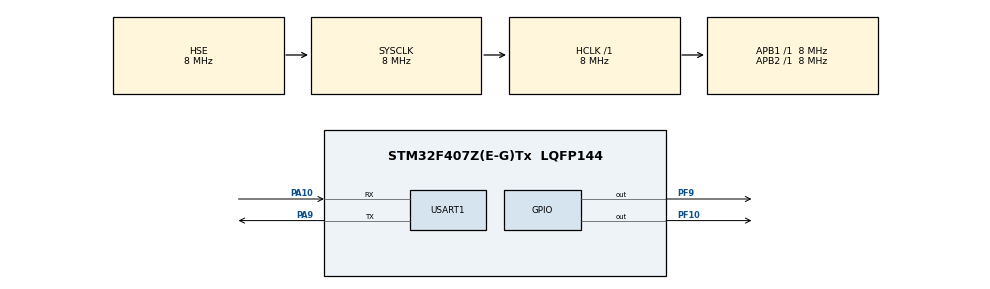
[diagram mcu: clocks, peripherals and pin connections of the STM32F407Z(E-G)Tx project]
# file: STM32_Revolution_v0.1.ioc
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Mcu.Family=STM32F4
Mcu.Name=STM32F407Z(E-G)Tx
Mcu.Package=LQFP144
NVIC.PriorityGroup=NVIC_PRIORITYGROUP_4
NVIC.USART1_IRQn=true\:0\:0\:false\:false\:true\:true\:true
PA10.Mode=Asynchronous
PA10.Signal=USART1_RX
PA9.Mode=Asynchronous
PA9.Signal=USART1_TX
PF10.Signal=GPIO_Output
PF9.Signal=GPIO_Output
PH0-OSC_IN.Mode=HSE-External-Oscillator
PH0-OSC_IN.Signal=RCC_OSC_IN
PH1-OSC_OUT.Mode=HSE-External-Oscillator
PH1-OSC_OUT.Signal=RCC_OSC_OUT
ProjectManager.HeapSize=0x200
ProjectManager.StackSize=0x400
ProjectManager.TargetToolchain=MDK-ARM V5.27
RCC.48MHZClocksFreq_Value=24000000
RCC.AHBFreq_Value=8000000
RCC.APB1Freq_Value=8000000
RCC.APB1TimCLKDivider=1
RCC.APB1TimFreq_Value=8000000
RCC.APB2Freq_Value=8000000
RCC.APB2TimCLKDivider=1
RCC.APB2TimFreq_Value=8000000
RCC.CortexFreq_Value=8000000
RCC.HCLKFreq_Value=8000000
RCC.HSE_VALUE=8000000
RCC.HSI_VALUE=16000000
RCC.LSE_VALUE=32768
RCC.PLLSourceVirtual=RCC_PLLSOURCE_HSE
RCC.SYSCLKFreq_VALUE=8000000
RCC.SYSCLKSource=RCC_SYSCLKSOURCE_HSE
RCC.VCOOutputFreq_Value=96000000
USART1.VirtualMode=VM_ASYNC
board=custom

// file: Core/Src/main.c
/* USER CODE BEGIN Header */
/**
  ******************************************************************************
  * @file           : main.c
  * @brief          : Main program body
  ******************************************************************************
  * @attention
  *
  * <h2><center>&copy; Copyright (c) 2021 STMicroelectronics.
  * All rights reserved.</center></h2>
  *
  * This software component is licensed by ST under BSD 3-Clause license,
  * the "License"; You may not use this file except in compliance with the
  * License. You may obtain a copy of the License at:
  *                        opensource.org/licenses/BSD-3-Clause
  *
  ******************************************************************************
  */
/* USER CODE END Header */
#include "main.h"

/* USER CODE BEGIN Includes */
#include "FreeRTOS.h"
#include "task.h"
#include "stdio.h"
/* USER CODE END Includes */

UART_HandleTypeDef huart1;

void SystemClock_Config(void);
static void MX_GPIO_Init(void);
static void MX_USART1_UART_Init(void);

/* USER CODE BEGIN 0 */

#define START_TASK_PRIO		1
#define START_STK_SIZE 		128
TaskHandle_t StartTask_Handler;
void start_task(void *pvParameters);

#define LED0_TASK_PRIO		2
#define LED0_STK_SIZE 		50
TaskHandle_t LED0Task_Handler;
void led0_task(void *pvParameters);

#define LED1_TASK_PRIO		3
#define LED1_STK_SIZE 		50
TaskHandle_t LED1Task_Handler;
void led1_task(void *pvParameters);

#define FLOAT_TASK_PRIO		4
#define FLOAT_STK_SIZE 		128
TaskHandle_t FLOATTask_Handler;
void float_task(void *pvParameters);

void start_task(void *pvParameters)
{
  printf("STM32 Revolution V0.1");

	taskENTER_CRITICAL();           //?????
    //??LED0??
    xTaskCreate((TaskFunction_t )led0_task,
                (const char*    )"led0_task",
                (uint16_t       )LED0_STK_SIZE,
                (void*          )NULL,
                (UBaseType_t    )LED0_TASK_PRIO,
                (TaskHandle_t*  )&LED0Task_Handler);
    //??LED1??
    xTaskCreate((TaskFunction_t )led1_task,
                (const char*    )"led1_task",
                (uint16_t       )LED1_STK_SIZE,
                (void*          )NULL,
                (UBaseType_t    )LED1_TASK_PRIO,
                (TaskHandle_t*  )&LED1Task_Handler);

    xTaskCreate((TaskFunction_t )float_task,
                (const char*    )"float_task",
                (uint16_t       )FLOAT_STK_SIZE,
                (void*          )NULL,
                (UBaseType_t    )FLOAT_TASK_PRIO,
                (TaskHandle_t*  )&FLOATTask_Handler);
    vTaskDelete(StartTask_Handler); //??????
    taskEXIT_CRITICAL();            //?????

    vTaskDelete(StartTask_Handler); //??????
    taskEXIT_CRITICAL();            //?????
}

//LED0????
void led0_task(void *pvParameters)
{
    while(1)
    {
        HAL_GPIO_WritePin(GPIOF,GPIO_PIN_9,GPIO_PIN_RESET);
        vTaskDelay(500);
			  HAL_GPIO_WritePin(GPIOF,GPIO_PIN_9,GPIO_PIN_SET);
			  vTaskDelay(500);
    }
}

//LED1????
void led1_task(void *pvParameters)
{
    while(1)
    {
        HAL_GPIO_WritePin(GPIOF,GPIO_PIN_10,GPIO_PIN_RESET);
        vTaskDelay(500);
        HAL_GPIO_WritePin(GPIOF,GPIO_PIN_10,GPIO_PIN_SET);
        vTaskDelay(1500);
    }
}

void float_task(void *pvParameters)
{
	static float float_num=0.00;
	while(1)
	{
		float_num+=0.01f;
		printf("float_num???: %.4f\r\n",float_num);
        vTaskDelay(1000);
	}
}

int fputc(int ch, FILE *f)
{
    while ((USART1->SR & 0X40) == 0);//????,??????
    USART1->DR = (unsigned char)ch;
    return ch;
}

/* USER CODE END 0 */

int main(void)
{

  /* MCU Configuration--------------------------------------------------------*/

  /* Reset of all peripherals, Initializes the Flash interface and the Systick. */
  HAL_Init();

  /* Configure the system clock */
  SystemClock_Config();

  /* Initialize all configured peripherals */
  MX_GPIO_Init();
  MX_USART1_UART_Init();
  /* USER CODE BEGIN 2 */

	//??????
    xTaskCreate((TaskFunction_t )start_task,            //????
                (const char*    )"start_task",          //????
                (uint16_t       )START_STK_SIZE,        //??????
                (void*          )NULL,                  //??????????
                (UBaseType_t    )START_TASK_PRIO,       //?????
                (TaskHandle_t*  )&StartTask_Handler);   //????
    vTaskStartScheduler();          //??????

  /* USER CODE END 2 */

  /* Infinite loop */
  /* USER CODE BEGIN WHILE */
  while (1)
  {
        //HAL_GPIO_WritePin(GPIOF,GPIO_PIN_9,GPIO_PIN_RESET);
        //HAL_GPIO_WritePin(GPIOF,GPIO_PIN_10,GPIO_PIN_SET);
        //HAL_Delay(500);
        //HAL_GPIO_WritePin(GPIOF,GPIO_PIN_9,GPIO_PIN_SET);
        //HAL_GPIO_WritePin(GPIOF,GPIO_PIN_10,GPIO_PIN_RESET);
        //HAL_Delay(500);
    /* USER CODE END WHILE */

  }
}

void SystemClock_Config(void)
{
  RCC_OscInitTypeDef RCC_OscInitStruct = {0};
  RCC_ClkInitTypeDef RCC_ClkInitStruct = {0};

  /** Configure the main internal regulator output voltage
  */
  __HAL_RCC_PWR_CLK_ENABLE();
  __HAL_PWR_VOLTAGESCALING_CONFIG(PWR_REGULATOR_VOLTAGE_SCALE1);
  /** Initializes the RCC Oscillators according to the specified parameters
  * in the RCC_OscInitTypeDef structure.
  */
  RCC_OscInitStruct.OscillatorType = RCC_OSCILLATORTYPE_HSE;
  RCC_OscInitStruct.HSEState = RCC_HSE_ON;
  RCC_OscInitStruct.PLL.PLLState = RCC_PLL_NONE;
  if (HAL_RCC_OscConfig(&RCC_OscInitStruct) != HAL_OK)
  {
    Error_Handler();
  }
  /** Initializes the CPU, AHB and APB buses clocks
  */
  RCC_ClkInitStruct.ClockType = RCC_CLOCKTYPE_HCLK|RCC_CLOCKTYPE_SYSCLK
                              |RCC_CLOCKTYPE_PCLK1|RCC_CLOCKTYPE_PCLK2;
  RCC_ClkInitStruct.SYSCLKSource = RCC_SYSCLKSOURCE_HSE;
  RCC_ClkInitStruct.AHBCLKDivider = RCC_SYSCLK_DIV1;
  RCC_ClkInitStruct.APB1CLKDivider = RCC_HCLK_DIV1;
  RCC_ClkInitStruct.APB2CLKDivider = RCC_HCLK_DIV1;

  if (HAL_RCC_ClockConfig(&RCC_ClkInitStruct, FLASH_LATENCY_0) != HAL_OK)
  {
    Error_Handler();
  }
}

static void MX_USART1_UART_Init(void)
{

  huart1.Instance = USART1;
  huart1.Init.BaudRate = 115200;
  huart1.Init.WordLength = UART_WORDLENGTH_8B;
  huart1.Init.StopBits = UART_STOPBITS_1;
  huart1.Init.Parity = UART_PARITY_NONE;
  huart1.Init.Mode = UART_MODE_TX_RX;
  huart1.Init.HwFlowCtl = UART_HWCONTROL_NONE;
  huart1.Init.OverSampling = UART_OVERSAMPLING_16;
  if (HAL_UART_Init(&huart1) != HAL_OK)
  {
    Error_Handler();
  }

}

static void MX_GPIO_Init(void)
{
  GPIO_InitTypeDef GPIO_InitStruct = {0};

  /* GPIO Ports Clock Enable */
  __HAL_RCC_GPIOF_CLK_ENABLE();
  __HAL_RCC_GPIOH_CLK_ENABLE();
  __HAL_RCC_GPIOA_CLK_ENABLE();

  /*Configure GPIO pin Output Level */
  HAL_GPIO_WritePin(GPIOF, GPIO_PIN_9|GPIO_PIN_10, GPIO_PIN_RESET);

  /*Configure GPIO pins : PF9 PF10 */
  GPIO_InitStruct.Pin = GPIO_PIN_9|GPIO_PIN_10;
  GPIO_InitStruct.Mode = GPIO_MODE_OUTPUT_PP;
  GPIO_InitStruct.Pull = GPIO_NOPULL;
  GPIO_InitStruct.Speed = GPIO_SPEED_FREQ_LOW;
  HAL_GPIO_Init(GPIOF, &GPIO_InitStruct);

}

void Error_Handler(void)
{
  __disable_irq();
  while (1)
  {
  }
}

/************************ (C) COPYRIGHT STMicroelectronics *****END OF FILE****/
